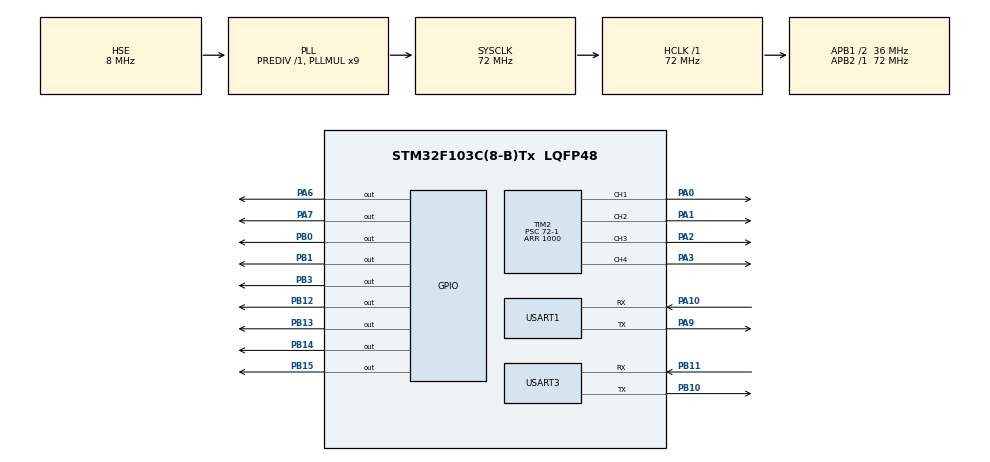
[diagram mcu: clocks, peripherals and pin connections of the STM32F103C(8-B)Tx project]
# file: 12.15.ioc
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Mcu.Family=STM32F1
Mcu.Name=STM32F103C(8-B)Tx
Mcu.Package=LQFP48
NVIC.PriorityGroup=NVIC_PRIORITYGROUP_4
NVIC.USART1_IRQn=true\:0\:0\:false\:false\:true\:true\:true\:true
PA0-WKUP.Signal=S_TIM2_CH1_ETR
PA1.Signal=S_TIM2_CH2
PA10.Mode=Asynchronous
PA10.Signal=USART1_RX
PA13.Mode=Serial_Wire
PA13.Signal=SYS_JTMS-SWDIO
PA14.Mode=Serial_Wire
PA14.Signal=SYS_JTCK-SWCLK
PA2.Signal=S_TIM2_CH3
PA3.Signal=S_TIM2_CH4
PA6.Signal=GPIO_Output
PA7.Signal=GPIO_Output
PA9.Mode=Asynchronous
PA9.Signal=USART1_TX
PB0.Signal=GPIO_Output
PB1.Signal=GPIO_Output
PB10.Mode=Asynchronous
PB10.Signal=USART3_TX
PB11.Mode=Asynchronous
PB11.Signal=USART3_RX
PB12.Signal=GPIO_Output
PB13.Signal=GPIO_Output
PB14.Signal=GPIO_Output
PB15.Signal=GPIO_Output
PB3.Signal=GPIO_Output
PD0-OSC_IN.Mode=HSE-External-Oscillator
PD0-OSC_IN.Signal=RCC_OSC_IN
PD1-OSC_OUT.Mode=HSE-External-Oscillator
PD1-OSC_OUT.Signal=RCC_OSC_OUT
ProjectManager.HeapSize=0x200
ProjectManager.StackSize=0x400
ProjectManager.TargetToolchain=MDK-ARM V5.32
RCC.AHBFreq_Value=72000000
RCC.APB1CLKDivider=RCC_HCLK_DIV2
RCC.APB1Freq_Value=36000000
RCC.APB1TimFreq_Value=72000000
RCC.APB2Freq_Value=72000000
RCC.APB2TimFreq_Value=72000000
RCC.HCLKFreq_Value=72000000
RCC.PLLMUL=RCC_PLL_MUL9
RCC.PLLSourceVirtual=RCC_PLLSOURCE_HSE
RCC.SYSCLKFreq_VALUE=72000000
RCC.SYSCLKSource=RCC_SYSCLKSOURCE_PLLCLK
RCC.USBFreq_Value=72000000
SH.S_TIM2_CH1_ETR.0=TIM2_CH1,PWM Generation1 CH1
SH.S_TIM2_CH2.0=TIM2_CH2,PWM Generation2 CH2
SH.S_TIM2_CH3.0=TIM2_CH3,PWM Generation3 CH3
SH.S_TIM2_CH4.0=TIM2_CH4,PWM Generation4 CH4
TIM2.Channel-PWM\ Generation1\ CH1=TIM_CHANNEL_1
TIM2.Channel-PWM\ Generation2\ CH2=TIM_CHANNEL_2
TIM2.Channel-PWM\ Generation3\ CH3=TIM_CHANNEL_3
TIM2.Channel-PWM\ Generation4\ CH4=TIM_CHANNEL_4
TIM2.Period=1000
TIM2.Prescaler=72-1
USART1.VirtualMode=VM_ASYNC
USART3.VirtualMode=VM_ASYNC
board=custom

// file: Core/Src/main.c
/* USER CODE BEGIN Header */
/**
  ******************************************************************************
  * @file           : main.c
  * @brief          : Main program body
  ******************************************************************************
  * @attention
  *
  * Copyright (c) 2024 STMicroelectronics.
  * All rights reserved.
  *
  * This software is licensed under terms that can be found in the LICENSE file
  * in the root directory of this software component.
  * If no LICENSE file comes with this software, it is provided AS-IS.
  *
  ******************************************************************************
  */
/* USER CODE END Header */
#include "main.h"
#include "tim.h"
#include "usart.h"
#include "gpio.h"

/* USER CODE BEGIN PV */
float w;
uint8_t a=0;
uint8_t rx,r,q;
int f=0;
/* USER CODE END PV */

void SystemClock_Config(void);

/* USER CODE BEGIN 0 */
float X(float a)
{float e =0;
float pid=0;
float P=420;
float D=90;
float e_last=0;
float t=0;
e = a-t;
pid = P*e+D*(e-e_last);
e_last =e;
if(pid >300) pid =300;
return pid;}
void m(float a,float b){
   HAL_GPIO_WritePin(GPIOB,GPIO_PIN_0,GPIO_PIN_SET);
   HAL_GPIO_WritePin(GPIOB,GPIO_PIN_1,GPIO_PIN_RESET);
   __HAL_TIM_SET_COMPARE(&htim2,TIM_CHANNEL_1,a);

   HAL_GPIO_WritePin(GPIOA,GPIO_PIN_6,GPIO_PIN_SET);
   HAL_GPIO_WritePin(GPIOA,GPIO_PIN_7,GPIO_PIN_RESET);
   __HAL_TIM_SET_COMPARE(&htim2,TIM_CHANNEL_2,a);

   HAL_GPIO_WritePin(GPIOB,GPIO_PIN_12,GPIO_PIN_SET);
   HAL_GPIO_WritePin(GPIOB,GPIO_PIN_13,GPIO_PIN_RESET);
   __HAL_TIM_SET_COMPARE(&htim2,TIM_CHANNEL_3,b);

   HAL_GPIO_WritePin(GPIOB,GPIO_PIN_14,GPIO_PIN_SET);
   HAL_GPIO_WritePin(GPIOB,GPIO_PIN_15,GPIO_PIN_RESET);
   __HAL_TIM_SET_COMPARE(&htim2,TIM_CHANNEL_4,b);}
/* USER CODE END 0 */

int main(void)
{

  /* MCU Configuration--------------------------------------------------------*/

  /* Reset of all peripherals, Initializes the Flash interface and the Systick. */
  HAL_Init();

  /* Configure the system clock */
  SystemClock_Config();

  /* Initialize all configured peripherals */
  MX_GPIO_Init();
  MX_USART1_UART_Init();
  MX_TIM2_Init();
  MX_USART3_UART_Init();
  /* USER CODE BEGIN 2 */
  HAL_TIM_PWM_Start(&htim2,TIM_CHANNEL_1);
  HAL_TIM_PWM_Start(&htim2,TIM_CHANNEL_2);
  HAL_TIM_PWM_Start(&htim2,TIM_CHANNEL_3);
  HAL_TIM_PWM_Start(&htim2,TIM_CHANNEL_4);

  /* USER CODE END 2 */

  /* Infinite loop */
  while (1)
  {
	HAL_UART_Receive_IT(&huart1,(uint8_t*)&rx,1);
	if(rx==0x06){f=1;}
	if(rx==0x07){f=2;}
	if(f==1){
	HAL_UART_Transmit(&huart1,(uint8_t*)&rx,1,100);
    HAL_UART_Receive(&huart3,&a,1,HAL_MAX_DELAY);
	if(a==49){w=0;}
	if(a==50){w=-0.6;}
	if(a==51){w=-0.9;}
	if(a==52){w=0.6;}
	if(a==43){w=0.9;}
	float q=X(w);
	float g,f;
	g=f=350;
	g=g-q;
	f=f+q;
	m(g,f);
	HAL_Delay(10);}
	HAL_UART_Receive_IT(&huart1,(uint8_t*)&rx,1);}
	if(f==2){m(0,0);
	HAL_UART_Transmit(&huart1,(uint8_t*)&rx,1,100);}}

void SystemClock_Config(void)
{
  RCC_OscInitTypeDef RCC_OscInitStruct = {0};
  RCC_ClkInitTypeDef RCC_ClkInitStruct = {0};

  /** Initializes the RCC Oscillators according to the specified parameters
  * in the RCC_OscInitTypeDef structure.
  */
  RCC_OscInitStruct.OscillatorType = RCC_OSCILLATORTYPE_HSE;
  RCC_OscInitStruct.HSEState = RCC_HSE_ON;
  RCC_OscInitStruct.HSEPredivValue = RCC_HSE_PREDIV_DIV1;
  RCC_OscInitStruct.HSIState = RCC_HSI_ON;
  RCC_OscInitStruct.PLL.PLLState = RCC_PLL_ON;
  RCC_OscInitStruct.PLL.PLLSource = RCC_PLLSOURCE_HSE;
  RCC_OscInitStruct.PLL.PLLMUL = RCC_PLL_MUL9;
  if (HAL_RCC_OscConfig(&RCC_OscInitStruct) != HAL_OK)
  {
    Error_Handler();
  }

  /** Initializes the CPU, AHB and APB buses clocks
  */
  RCC_ClkInitStruct.ClockType = RCC_CLOCKTYPE_HCLK|RCC_CLOCKTYPE_SYSCLK
                              |RCC_CLOCKTYPE_PCLK1|RCC_CLOCKTYPE_PCLK2;
  RCC_ClkInitStruct.SYSCLKSource = RCC_SYSCLKSOURCE_PLLCLK;
  RCC_ClkInitStruct.AHBCLKDivider = RCC_SYSCLK_DIV1;
  RCC_ClkInitStruct.APB1CLKDivider = RCC_HCLK_DIV2;
  RCC_ClkInitStruct.APB2CLKDivider = RCC_HCLK_DIV1;

  if (HAL_RCC_ClockConfig(&RCC_ClkInitStruct, FLASH_LATENCY_2) != HAL_OK)
  {
    Error_Handler();
  }
}

/* USER CODE BEGIN 4 */
// void HAL_UART_RxCpltCallback(UART_HandleTypeDef *huart)
//{
//  /* Prevent unused argument(s) compilation warning */
//	if(huart->Instance == USART1)
//	{	HAL_UART_Transmit_IT(&huart1,(uint8_t*)&rx,1);
//		q=2;
////		a=rx;
//	    if(rx==49){HAL_UART_Transmit_IT(&huart1,(uint8_t*)&rx,1);}
//		if(rx==50){HAL_UART_Transmit_IT(&huart1,(uint8_t*)&q,1);}
//		__HAL_UART_CLEAR_FLAG(&huart1, UART_FLAG_RXNE);
//		HAL_UART_Receive_IT(&huart1,(uint8_t*)&rx,1);
//	}
//  UNUSED(huart);
//  /* NOTE: This function should not be modified, when the callback is needed,
//           the HAL_UART_RxCpltCallback could be implemented in the user file
//   */
//}
/* USER CODE END 4 */

void Error_Handler(void)
{
  __disable_irq();
  while (1)
  {
  }
}
